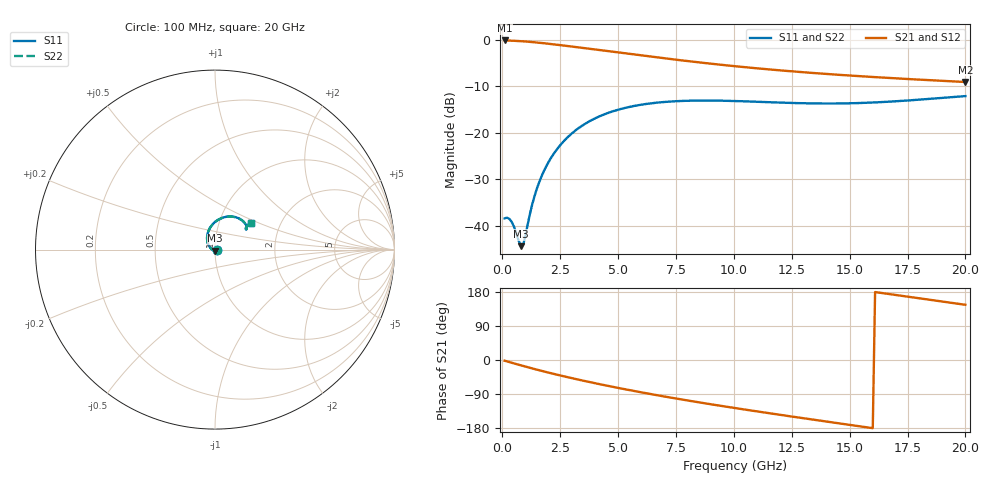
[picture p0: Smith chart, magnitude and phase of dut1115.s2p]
! Touchstone file exported from HFSS 2024.1.0
!  File:  C:/UserFiles/LocalFiles/RDL_TSV_Batchsim/temp_RDL_TSV_1115_1780104666.aedt
!  Generated:  09:39:39 AM May 30, 2026
!  Design:  RDL_TSV
!  Project:  temp_RDL_TSV_1115_1780104666
!  Setup:  Setup1
!  Solution:  Sweep
! Variables:
!  dtsv = 9.36um
!  hbump = 3um
!  htsv = 79.91um
!  ldown = 264.19um
!  lrdl = 587.82um
!  p = 40
!  p1 = 43.31um
!  rhole = 10um
!  subl = 3143.85um
!  t = 450um
!  tdown = 4.66um
!  trdl = 4.64um
!  viad = 10um
!  wdown = 14.61um
!  wrdl = 26.37um
!  xbump = 18um
# GHz S MA R 50.000000
! Terminal data exported
! Port[1] = TM1_1_T1
! Port[2] = TM1_4_T1
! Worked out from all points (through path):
!   200 points, 100 MHz to 20 GHz, reference 50 ohm
!   highest |S21| = -0.11 dB at 100 MHz (marker M1); lowest = -9.0 dB at 20 GHz (marker M2)
!   group delay of S21, straight-line fit = 28.3 ps
!   lowest |S11| = -44.4 dB at 800 MHz (marker M3), VSWR 1.01, Z = 50 - j0.604 ohm
!   |S11| at or under -10 dB: start of sweep to end of sweep
!   |S22| runs from -44.4 to -12.1 dB; largest |S21 - S12| = 1.7e-14
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0.1  0.01204 -1.6  0.9875 -1.8  0.9875 -1.8  0.01204 -1.6
! Gamma 0 0 0 0
! Port Impedance 50 0 50 0
0.2  0.01226 -6.6  0.9859 -3.6  0.9859 -3.6  0.01227 -6.6
0.4  0.01108 -21.7  0.9818 -7.1  0.9818 -7.1  0.01108 -21.8
0.5  0.009859 -31.4  0.9794 -8.9  0.9794 -8.9  0.00986 -31.5
0.8  0.006049 -87.1  0.9701 -14.0  0.9701 -14.0  0.006054 -87.0
0.9  0.006238 -118.5  0.9664 -15.7  0.9664 -15.7  0.006235 -118.3
1  0.007825 -145.2  0.9623 -17.4  0.9623 -17.4  0.007811 -145.1
1.2  0.01366 -175.9  0.9534 -20.7  0.9534 -20.7  0.01362 -175.8
1.4  0.02125 168.1  0.9435 -24.0  0.9435 -24.0  0.02119 168.2
1.6  0.02981 157.3  0.9328 -27.2  0.9328 -27.2  0.02973 157.3
1.9  0.04381 145.1  0.9159 -31.9  0.9159 -31.9  0.0437 145.1
2.2  0.05861 135.2  0.8981 -36.4  0.8981 -36.4  0.05847 135.2
2.6  0.07875 124.1  0.8739 -42.2  0.8739 -42.2  0.07856 124.1
3.5  0.122 103.9  0.8196 -54.6  0.8196 -54.6  0.1217 103.9
4.9  0.1746 80.5  0.7395 -72.4  0.7395 -72.4  0.1742 80.5
6.8  0.2131 58.4  0.644 -94.2  0.644 -94.2  0.2124 58.3
8.4  0.2228 45.9  0.5773 -110.8  0.5773 -110.8  0.222 45.9
10.1  0.2201 37.6  0.5202 -127.3  0.5202 -127.3  0.2192 37.6
11.7  0.2132 33.7  0.4776 -142.0  0.4776 -142.0  0.2121 33.7
13.4  0.2076 32.9  0.4416 -157.2  0.4416 -157.2  0.2065 33.0
16.7  0.2168 35.8  0.3901 174.1  0.3901 174.1  0.2157 36.0
20  0.2489 35.9  0.353 145.7  0.353 145.7  0.2483 36.2
